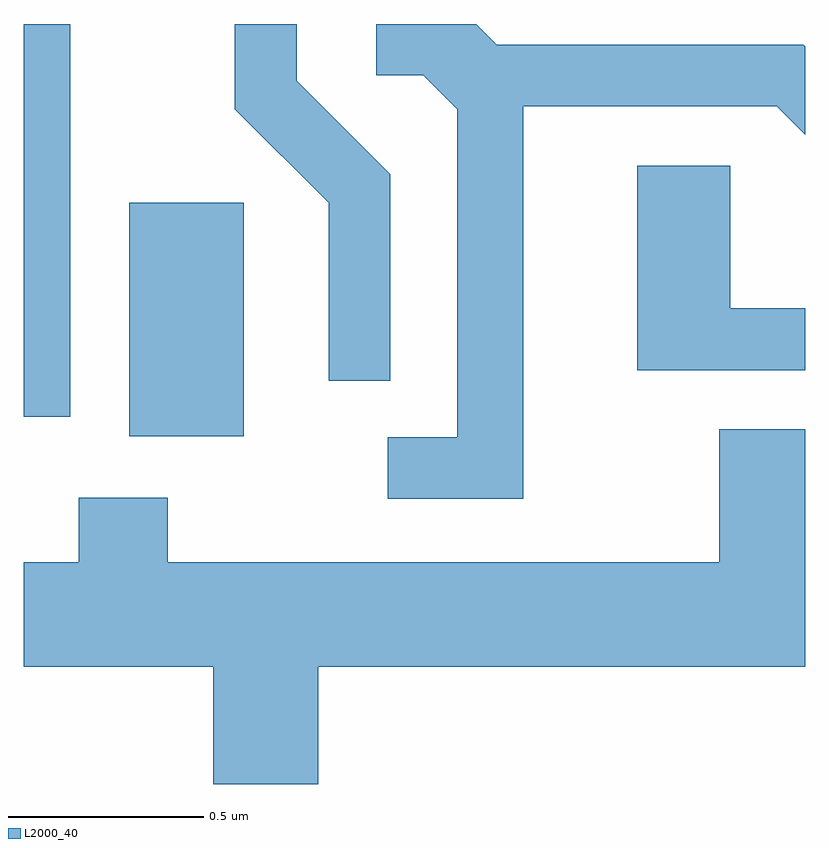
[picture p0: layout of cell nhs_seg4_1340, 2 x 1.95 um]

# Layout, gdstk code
import gdstk
lib = gdstk.Library(unit=1e-6, precision=1e-09)
def R(c, l, rs):  # rectangles x0, y0, x1, y1
    for r in rs: c.add(gdstk.rectangle(r[:2], r[2:], *l))
def P(c, l, *ps):  # polygons
    for p in ps: c.add(gdstk.Polygon(p, *l))
L2000_40 = (2000, 40)

nhs_seg4_1340 = lib.new_cell('nhs_seg4_1340')
R(nhs_seg4_1340, L2000_40, [(194.881,1361.926,195.174,1362.524), (194.611,1361.976,194.729,1362.982)])
P(nhs_seg4_1340, L2000_40, [(195.889,1362.771),(196.539,1362.771),(196.611,1362.699),(196.611,1362.925),(196.607,1362.929),(195.822,1362.929),(195.769,1362.982),(195.513,1362.982),(195.513,1362.851),(195.634,1362.851),(195.721,1362.764),(195.721,1361.924),(195.543,1361.924),(195.543,1361.766),(195.889,1361.766)],
  [(195.549,1362.597),(195.309,1362.837),(195.309,1362.982),(195.151,1362.982),(195.151,1362.764),(195.391,1362.524),(195.391,1362.068),(195.549,1362.068)],
  [(196.611,1362.254),(196.419,1362.254),(196.419,1362.619),(196.181,1362.619),(196.181,1362.096),(196.611,1362.096)],
  [(195.364,1361.336),(196.611,1361.336),(196.611,1361.944),(196.391,1361.944),(196.391,1361.604),(194.979,1361.604),(194.979,1361.769),(194.751,1361.769),(194.751,1361.604),(194.611,1361.604),(194.611,1361.336),(195.096,1361.336),(195.096,1361.036),(195.364,1361.036)])

lib.write_gds('nhs_seg4_1340.gds')
